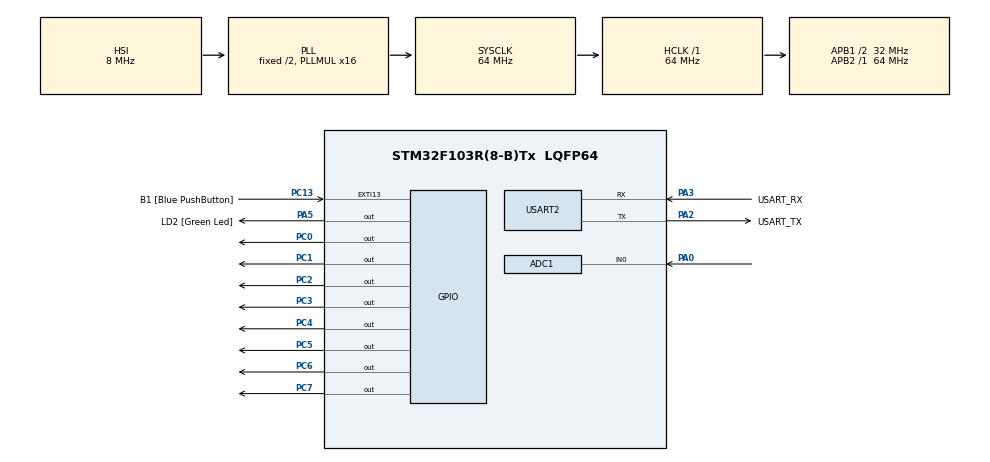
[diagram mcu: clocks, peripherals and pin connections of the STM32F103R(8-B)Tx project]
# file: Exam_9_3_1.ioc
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ADC1.Channel-3\#ChannelRegularConversion=ADC_CHANNEL_0
ADC1.ContinuousConvMode=ENABLE
ADC1.NbrOfConversionFlag=1
ADC1.Rank-3\#ChannelRegularConversion=1
ADC1.SamplingTime-3\#ChannelRegularConversion=ADC_SAMPLETIME_1CYCLE_5
ADC1.master=1
Mcu.Family=STM32F1
Mcu.Name=STM32F103R(8-B)Tx
Mcu.Package=LQFP64
NVIC.EXTI15_10_IRQn=true\:0\:0\:false\:false\:true\:true\:true\:true
NVIC.PriorityGroup=NVIC_PRIORITYGROUP_4
PA0-WKUP.Signal=ADCx_IN0
PA13.GPIO_Label=TMS
PA13.Mode=Serial_Wire
PA13.Signal=SYS_JTMS-SWDIO
PA14.GPIO_Label=TCK
PA14.Mode=Serial_Wire
PA14.Signal=SYS_JTCK-SWCLK
PA2.GPIO_Label=USART_TX
PA2.GPIO_Mode=GPIO_MODE_AF_PP
PA2.GPIO_PuPd=GPIO_NOPULL
PA2.GPIO_Speed=GPIO_SPEED_FREQ_LOW
PA2.Mode=Asynchronous
PA2.Signal=USART2_TX
PA3.GPIO_Label=USART_RX
PA3.GPIO_Mode=GPIO_MODE_AF_PP
PA3.GPIO_PuPd=GPIO_NOPULL
PA3.GPIO_Speed=GPIO_SPEED_FREQ_LOW
PA3.Mode=Asynchronous
PA3.Signal=USART2_RX
PA5.GPIO_Label=LD2 [Green Led]
PA5.GPIO_ModeDefaultOutputPP=GPIO_MODE_OUTPUT_PP
PA5.GPIO_PuPd=GPIO_NOPULL
PA5.GPIO_Speed=GPIO_SPEED_FREQ_LOW
PA5.Signal=GPIO_Output
PB3.GPIO_Label=SWO
PB3.Signal=SYS_JTDO-TRACESWO
PC0.Signal=GPIO_Output
PC1.Signal=GPIO_Output
PC13-TAMPER-RTC.GPIO_Label=B1 [Blue PushButton]
PC13-TAMPER-RTC.GPIO_PuPd=GPIO_NOPULL
PC13-TAMPER-RTC.Signal=GPXTI13
PC14-OSC32_IN.Mode=LSE-External-Oscillator
PC14-OSC32_IN.Signal=RCC_OSC32_IN
PC15-OSC32_OUT.Mode=LSE-External-Oscillator
PC15-OSC32_OUT.Signal=RCC_OSC32_OUT
PC2.Signal=GPIO_Output
PC3.Signal=GPIO_Output
PC4.Signal=GPIO_Output
PC5.Signal=GPIO_Output
PC6.Signal=GPIO_Output
PC7.Signal=GPIO_Output
PD0-OSC_IN.Mode=HSE-External-Clock-Source
PD0-OSC_IN.Signal=RCC_OSC_IN
PD1-OSC_OUT.Mode=HSE-External-Clock-Source
PD1-OSC_OUT.Signal=RCC_OSC_OUT
ProjectManager.HeapSize=0x200
ProjectManager.StackSize=0x400
ProjectManager.TargetToolchain=STM32CubeIDE
RCC.ADCPresc=RCC_ADCPCLK2_DIV8
RCC.AHBFreq_Value=64000000
RCC.APB1CLKDivider=RCC_HCLK_DIV2
RCC.APB1Freq_Value=32000000
RCC.APB1TimFreq_Value=64000000
RCC.APB2Freq_Value=64000000
RCC.APB2TimFreq_Value=64000000
RCC.HCLKFreq_Value=64000000
RCC.PLLMUL=RCC_PLL_MUL16
RCC.RTCClockSelection=RCC_RTCCLKSOURCE_LSE
RCC.SYSCLKFreq_VALUE=64000000
RCC.SYSCLKSource=RCC_SYSCLKSOURCE_PLLCLK
RCC.USBFreq_Value=64000000
SH.ADCx_IN0.0=ADC1_IN0,IN0
USART2.VirtualMode=VM_ASYNC
board=NUCLEO-F103RB

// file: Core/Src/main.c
/* USER CODE BEGIN Header */
/**
  ******************************************************************************
  * @file           : main.c
  * @brief          : Main program body
  ******************************************************************************
  * @attention
  *
  * Copyright (c) 2022 STMicroelectronics.
  * All rights reserved.
  *
  * This software is licensed under terms that can be found in the LICENSE file
  * in the root directory of this software component.
  * If no LICENSE file comes with this software, it is provided AS-IS.
  *
  ******************************************************************************
  */
/* USER CODE END Header */
#include "main.h"
#include "stdio.h"

/* USER CODE BEGIN PM */
//ADC_ChannelConfTypeDef sConfig = {0};
/* USER CODE END PM */

 ADC_HandleTypeDef hadc1;

UART_HandleTypeDef huart2;

/* USER CODE BEGIN PV */
uint16_t adc_value;
int delay_time = 0;
/* USER CODE END PV */

void SystemClock_Config(void);
static void MX_GPIO_Init(void);
static void MX_USART2_UART_Init(void);
static void MX_ADC1_Init(void);
/* USER CODE BEGIN PFP */
#ifdef __GNUC__
/* With GCC, small printf (option LD Linker->Libraries->Small printf
   set to 'Yes') calls __io_putchar() */
#define PUTCHAR_PROTOTYPE int __io_putchar(int ch)
#else
#define PUTCHAR_PROTOTYPE int fputc(int ch, FILE *f)
#endif /* __GNUC__ */
/* USER CODE END PFP */

int main(void)
{

  /* MCU Configuration--------------------------------------------------------*/

  /* Reset of all peripherals, Initializes the Flash interface and the Systick. */
  HAL_Init();

  /* Configure the system clock */
  SystemClock_Config();

  /* Initialize all configured peripherals */
  MX_GPIO_Init();
  MX_USART2_UART_Init();
  MX_ADC1_Init();

  /* Infinite loop */
  /* USER CODE BEGIN WHILE */
  while (1)
  {
//	  HAL_ADC_ConfigChannel(&hadc1, &sConfig);
	  HAL_ADC_Start(&hadc1);
	  HAL_ADC_PollForConversion(&hadc1, 10);
	  adc_value = HAL_ADC_GetValue(&hadc1);
//	  HAL_ADC_Stop(&hadc1);
	  printf("ADC Value = %ld\n", adc_value);
	  HAL_Delay(1000);

//	  adc_value = HAL_ADC_GetValue(&hadc1) * 1000;
//
//	  HAL_GPIO_WritePin(GPIOC, GPIO_PIN_All, GPIO_PIN_SET);
//	  for(delay_time = 0; delay_time < adc_value; delay_time++);
//	  HAL_GPIO_WritePin(GPIOC, GPIO_PIN_All, GPIO_PIN_RESET);
//
//	  for(delay_time = 0; delay_time < 1000000; delay_time++);
    /* USER CODE END WHILE */

  }
}

void SystemClock_Config(void)
{
  RCC_OscInitTypeDef RCC_OscInitStruct = {0};
  RCC_ClkInitTypeDef RCC_ClkInitStruct = {0};
  RCC_PeriphCLKInitTypeDef PeriphClkInit = {0};

  /** Initializes the RCC Oscillators according to the specified parameters
  * in the RCC_OscInitTypeDef structure.
  */
  RCC_OscInitStruct.OscillatorType = RCC_OSCILLATORTYPE_HSI;
  RCC_OscInitStruct.HSIState = RCC_HSI_ON;
  RCC_OscInitStruct.HSICalibrationValue = RCC_HSICALIBRATION_DEFAULT;
  RCC_OscInitStruct.PLL.PLLState = RCC_PLL_ON;
  RCC_OscInitStruct.PLL.PLLSource = RCC_PLLSOURCE_HSI_DIV2;
  RCC_OscInitStruct.PLL.PLLMUL = RCC_PLL_MUL16;
  if (HAL_RCC_OscConfig(&RCC_OscInitStruct) != HAL_OK)
  {
    Error_Handler();
  }

  /** Initializes the CPU, AHB and APB buses clocks
  */
  RCC_ClkInitStruct.ClockType = RCC_CLOCKTYPE_HCLK|RCC_CLOCKTYPE_SYSCLK
                              |RCC_CLOCKTYPE_PCLK1|RCC_CLOCKTYPE_PCLK2;
  RCC_ClkInitStruct.SYSCLKSource = RCC_SYSCLKSOURCE_PLLCLK;
  RCC_ClkInitStruct.AHBCLKDivider = RCC_SYSCLK_DIV1;
  RCC_ClkInitStruct.APB1CLKDivider = RCC_HCLK_DIV2;
  RCC_ClkInitStruct.APB2CLKDivider = RCC_HCLK_DIV1;

  if (HAL_RCC_ClockConfig(&RCC_ClkInitStruct, FLASH_LATENCY_2) != HAL_OK)
  {
    Error_Handler();
  }
  PeriphClkInit.PeriphClockSelection = RCC_PERIPHCLK_ADC;
  PeriphClkInit.AdcClockSelection = RCC_ADCPCLK2_DIV8;
  if (HAL_RCCEx_PeriphCLKConfig(&PeriphClkInit) != HAL_OK)
  {
    Error_Handler();
  }
}

static void MX_ADC1_Init(void)
{

  ADC_ChannelConfTypeDef sConfig = {0};

  /** Common config
  */
  hadc1.Instance = ADC1;
  hadc1.Init.ScanConvMode = ADC_SCAN_DISABLE;
  hadc1.Init.ContinuousConvMode = ENABLE;
  hadc1.Init.DiscontinuousConvMode = DISABLE;
  hadc1.Init.ExternalTrigConv = ADC_SOFTWARE_START;
  hadc1.Init.DataAlign = ADC_DATAALIGN_RIGHT;
  hadc1.Init.NbrOfConversion = 1;
  if (HAL_ADC_Init(&hadc1) != HAL_OK)
  {
    Error_Handler();
  }

  /** Configure Regular Channel
  */
  sConfig.Channel = ADC_CHANNEL_0;
  sConfig.Rank = ADC_REGULAR_RANK_1;
  sConfig.SamplingTime = ADC_SAMPLETIME_1CYCLE_5;
  if (HAL_ADC_ConfigChannel(&hadc1, &sConfig) != HAL_OK)
  {
    Error_Handler();
  }

}

static void MX_USART2_UART_Init(void)
{

  huart2.Instance = USART2;
  huart2.Init.BaudRate = 115200;
  huart2.Init.WordLength = UART_WORDLENGTH_8B;
  huart2.Init.StopBits = UART_STOPBITS_1;
  huart2.Init.Parity = UART_PARITY_NONE;
  huart2.Init.Mode = UART_MODE_TX_RX;
  huart2.Init.HwFlowCtl = UART_HWCONTROL_NONE;
  huart2.Init.OverSampling = UART_OVERSAMPLING_16;
  if (HAL_UART_Init(&huart2) != HAL_OK)
  {
    Error_Handler();
  }

}

static void MX_GPIO_Init(void)
{
  GPIO_InitTypeDef GPIO_InitStruct = {0};

  /* GPIO Ports Clock Enable */
  __HAL_RCC_GPIOC_CLK_ENABLE();
  __HAL_RCC_GPIOD_CLK_ENABLE();
  __HAL_RCC_GPIOA_CLK_ENABLE();
  __HAL_RCC_GPIOB_CLK_ENABLE();

  /*Configure GPIO pin Output Level */
  HAL_GPIO_WritePin(GPIOC, GPIO_PIN_0|GPIO_PIN_1|GPIO_PIN_2|GPIO_PIN_3
                          |GPIO_PIN_4|GPIO_PIN_5|GPIO_PIN_6|GPIO_PIN_7, GPIO_PIN_RESET);

  /*Configure GPIO pin Output Level */
  HAL_GPIO_WritePin(LD2_GPIO_Port, LD2_Pin, GPIO_PIN_RESET);

  /*Configure GPIO pin : B1_Pin */
  GPIO_InitStruct.Pin = B1_Pin;
  GPIO_InitStruct.Mode = GPIO_MODE_IT_RISING;
  GPIO_InitStruct.Pull = GPIO_NOPULL;
  HAL_GPIO_Init(B1_GPIO_Port, &GPIO_InitStruct);

  /*Configure GPIO pins : PC0 PC1 PC2 PC3
                           PC4 PC5 PC6 PC7 */
  GPIO_InitStruct.Pin = GPIO_PIN_0|GPIO_PIN_1|GPIO_PIN_2|GPIO_PIN_3
                          |GPIO_PIN_4|GPIO_PIN_5|GPIO_PIN_6|GPIO_PIN_7;
  GPIO_InitStruct.Mode = GPIO_MODE_OUTPUT_PP;
  GPIO_InitStruct.Pull = GPIO_NOPULL;
  GPIO_InitStruct.Speed = GPIO_SPEED_FREQ_LOW;
  HAL_GPIO_Init(GPIOC, &GPIO_InitStruct);

  /*Configure GPIO pin : LD2_Pin */
  GPIO_InitStruct.Pin = LD2_Pin;
  GPIO_InitStruct.Mode = GPIO_MODE_OUTPUT_PP;
  GPIO_InitStruct.Pull = GPIO_NOPULL;
  GPIO_InitStruct.Speed = GPIO_SPEED_FREQ_LOW;
  HAL_GPIO_Init(LD2_GPIO_Port, &GPIO_InitStruct);

  /* EXTI interrupt init*/
  HAL_NVIC_SetPriority(EXTI15_10_IRQn, 0, 0);
  HAL_NVIC_EnableIRQ(EXTI15_10_IRQn);

}

/* USER CODE BEGIN 4 */
PUTCHAR_PROTOTYPE
{
  /* Place your implementation of fputc here */
  /* e.g. write a character to the USART1 and Loop until the end of transmission */
  HAL_UART_Transmit(&huart2, (uint8_t *)&ch, 1, 0xFFFF);

  return ch;
}
/* USER CODE END 4 */

void Error_Handler(void)
{
  __disable_irq();
  while (1)
  {
  }
}
